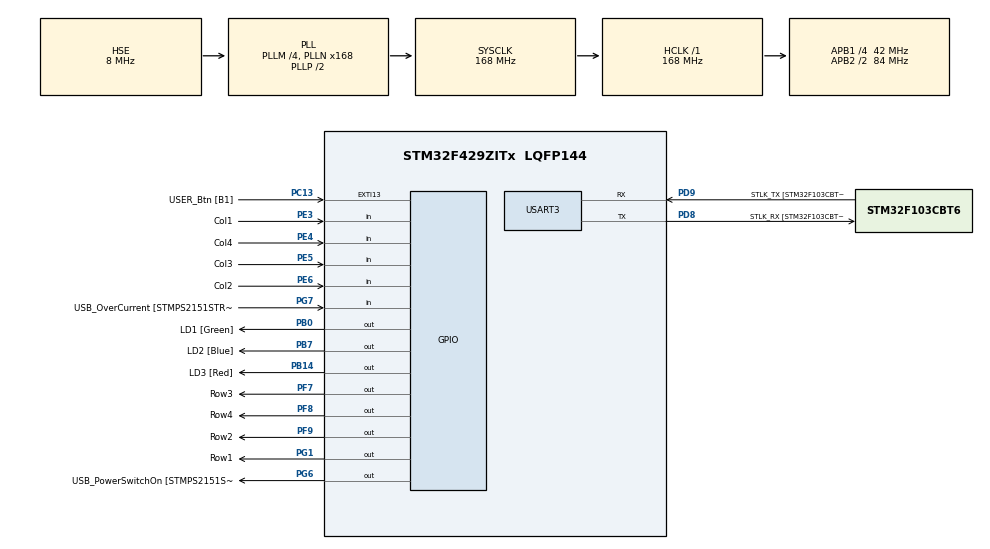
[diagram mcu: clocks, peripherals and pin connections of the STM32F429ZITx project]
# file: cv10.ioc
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Mcu.Family=STM32F4
Mcu.Name=STM32F429ZITx
Mcu.Package=LQFP144
NVIC.PriorityGroup=NVIC_PRIORITYGROUP_4
NVIC.TIM3_IRQn=true\:0\:0\:false\:false\:true\:true\:true\:true
PA1.GPIO_Label=RMII_REF_CLK [LAN8742A-CZ-TR_REFCLK0]
PA1.Signal=ETH_REF_CLK
PA10.GPIO_Label=USB_ID
PA10.Signal=USB_OTG_FS_ID
PA11.GPIO_Label=USB_DM
PA11.Signal=USB_OTG_FS_DM
PA12.GPIO_Label=USB_DP
PA12.Signal=USB_OTG_FS_DP
PA13.GPIO_Label=TMS
PA13.Mode=Serial_Wire
PA13.Signal=SYS_JTMS-SWDIO
PA14.GPIO_Label=TCK
PA14.Mode=Serial_Wire
PA14.Signal=SYS_JTCK-SWCLK
PA2.GPIO_Label=RMII_MDIO [LAN8742A-CZ-TR_MDIO]
PA2.Signal=ETH_MDIO
PA7.GPIO_Label=RMII_CRS_DV [LAN8742A-CZ-TR_CRS_DV]
PA7.Signal=ETH_CRS_DV
PA8.GPIO_Label=USB_SOF [TP1]
PA8.Signal=USB_OTG_FS_SOF
PA9.GPIO_Label=USB_VBUS
PA9.Signal=USB_OTG_FS_VBUS
PB0.GPIO_Label=LD1 [Green]
PB0.Signal=GPIO_Output
PB13.GPIO_Label=RMII_TXD1 [LAN8742A-CZ-TR_TXD1]
PB13.Signal=ETH_TXD1
PB14.GPIO_Label=LD3 [Red]
PB14.Signal=GPIO_Output
PB7.GPIO_Label=LD2 [Blue]
PB7.Signal=GPIO_Output
PC1.GPIO_Label=RMII_MDC [LAN8742A-CZ-TR_MDC]
PC1.Signal=ETH_MDC
PC13.GPIO_Label=USER_Btn [B1]
PC13.Signal=GPXTI13
PC14/OSC32_IN.Mode=LSE-External-Oscillator
PC14/OSC32_IN.Signal=RCC_OSC32_IN
PC15/OSC32_OUT.Mode=LSE-External-Oscillator
PC15/OSC32_OUT.Signal=RCC_OSC32_OUT
PC4.GPIO_Label=RMII_RXD0 [LAN8742A-CZ-TR_RXD0]
PC4.Signal=ETH_RXD0
PC5.GPIO_Label=RMII_RXD1 [LAN8742A-CZ-TR_RXD1]
PC5.Signal=ETH_RXD1
PD8.GPIO_Label=STLK_RX [STM32F103CBT6_PA3]
PD8.Mode=Asynchronous
PD8.Signal=USART3_TX
PD9.GPIO_Label=STLK_TX [STM32F103CBT6_PA2]
PD9.Mode=Asynchronous
PD9.Signal=USART3_RX
PE3.GPIO_Label=Col1
PE3.GPIO_PuPd=GPIO_PULLUP
PE3.Signal=GPIO_Input
PE4.GPIO_Label=Col4
PE4.GPIO_PuPd=GPIO_PULLUP
PE4.Signal=GPIO_Input
PE5.GPIO_Label=Col3
PE5.GPIO_PuPd=GPIO_PULLUP
PE5.Signal=GPIO_Input
PE6.GPIO_Label=Col2
PE6.GPIO_PuPd=GPIO_PULLUP
PE6.Signal=GPIO_Input
PF7.GPIO_Label=Row3
PF7.GPIO_ModeDefaultOutputPP=GPIO_MODE_OUTPUT_OD
PF7.GPIO_PuPd=GPIO_NOPULL
PF7.Signal=GPIO_Output
PF8.GPIO_Label=Row4
PF8.GPIO_ModeDefaultOutputPP=GPIO_MODE_OUTPUT_OD
PF8.GPIO_PuPd=GPIO_NOPULL
PF8.Signal=GPIO_Output
PF9.GPIO_Label=Row2
PF9.GPIO_ModeDefaultOutputPP=GPIO_MODE_OUTPUT_OD
PF9.GPIO_PuPd=GPIO_NOPULL
PF9.Signal=GPIO_Output
PG1.GPIO_Label=Row1
PG1.GPIO_ModeDefaultOutputPP=GPIO_MODE_OUTPUT_OD
PG1.GPIO_PuPd=GPIO_NOPULL
PG1.Signal=GPIO_Output
PG11.GPIO_Label=RMII_TX_EN [LAN8742A-CZ-TR_TXEN]
PG11.Signal=ETH_TX_EN
PG13.GPIO_Label=RMII_TXD0 [LAN8742A-CZ-TR_TXD0]
PG13.Signal=ETH_TXD0
PG6.GPIO_Label=USB_PowerSwitchOn [STMPS2151STR_EN]
PG6.Signal=GPIO_Output
PG7.GPIO_Label=USB_OverCurrent [STMPS2151STR_FAULT]
PG7.Signal=GPIO_Input
PH0/OSC_IN.GPIO_Label=MCO [STM32F103CBT6_PA8]
PH0/OSC_IN.Mode=HSE-External-Clock-Source
PH0/OSC_IN.Signal=RCC_OSC_IN
PH1/OSC_OUT.Mode=HSE-External-Clock-Source
PH1/OSC_OUT.Signal=RCC_OSC_OUT
ProjectManager.HeapSize=0x200
ProjectManager.StackSize=0x400
ProjectManager.TargetToolchain=STM32CubeIDE
RCC.48MHZClocksFreq_Value=48000000
RCC.AHBFreq_Value=168000000
RCC.APB1CLKDivider=RCC_HCLK_DIV4
RCC.APB1Freq_Value=42000000
RCC.APB1TimFreq_Value=84000000
RCC.APB2CLKDivider=RCC_HCLK_DIV2
RCC.APB2Freq_Value=84000000
RCC.APB2TimCLKDivider=2
RCC.APB2TimFreq_Value=168000000
RCC.CortexFreq_Value=168000000
RCC.HCLKFreq_Value=168000000
RCC.HSE_VALUE=8000000
RCC.HSI_VALUE=16000000
RCC.PLLM=4
RCC.PLLMUL=RCC_PLL_MUL9
RCC.PLLN=168
RCC.PLLQ=7
RCC.PLLSourceVirtual=RCC_PLLSOURCE_HSE
RCC.PRESCALERUSB=RCC_USBCLKSOURCE_PLL_DIV1_5
RCC.SYSCLKFreq_VALUE=168000000
RCC.SYSCLKSource=RCC_SYSCLKSOURCE_PLLCLK
RCC.SYSCLKSourceVirtual=RCC_SYSCLKSOURCE_PLLCLK
RCC.USBFreq_Value=48000000
RCC.VCOOutputFreq_Value=336000000
TIM3.AutoReloadPreload=TIM_AUTORELOAD_PRELOAD_ENABLE
TIM3.Period=99
TIM3.Prescaler=8399
USART3.VirtualMode=VM_ASYNC
VP_TIM3_VS_ClockSourceINT.Mode=Internal
board=NUCLEO-F429ZI

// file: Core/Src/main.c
/* USER CODE BEGIN Header */
/**
  ******************************************************************************
  * @file           : main.c
  * @brief          : Main program body
  ******************************************************************************
  * @attention
  *
  * Copyright (c) 2022 STMicroelectronics.
  * All rights reserved.
  *
  * This software is licensed under terms that can be found in the LICENSE file
  * in the root directory of this software component.
  * If no LICENSE file comes with this software, it is provided AS-IS.
  *
  ******************************************************************************
  */
/* USER CODE END Header */
#include "main.h"

/* USER CODE BEGIN Includes */
#include <stdio.h>
/* USER CODE END Includes */

TIM_HandleTypeDef htim3;

UART_HandleTypeDef huart3;

/* USER CODE BEGIN PV */
static volatile int8_t key = -1;
static const int key_def[5] =  {7, 9, 3, 2, 12 };
/* USER CODE END PV */

void SystemClock_Config(void);
static void MX_GPIO_Init(void);
static void MX_USART3_UART_Init(void);
static void MX_TIM3_Init(void);

/* USER CODE BEGIN 0 */
int __io_putchar(int ch)
{
	ITM_SendChar(ch);
	return 0;
}

//static int8_t pos = 0;

/* USER CODE END 0 */

int main(void)
{

  /* MCU Configuration--------------------------------------------------------*/

  /* Reset of all peripherals, Initializes the Flash interface and the Systick. */
  HAL_Init();

  /* Configure the system clock */
  SystemClock_Config();

  /* Initialize all configured peripherals */
  MX_GPIO_Init();
  MX_USART3_UART_Init();
  MX_TIM3_Init();
  /* USER CODE BEGIN 2 */
  HAL_TIM_Base_Start_IT(&htim3);
  printf("test\n\r");
  int8_t pos = 0;
  /* USER CODE END 2 */

  /* Infinite loop */
  while (1)
  {
	  //if (key != -1) {
		  //printf("stisknuto: %d\n", key);
		  //key = -1;

	  static uint32_t delay = 0xffffffff;
	  if (HAL_GetTick() > delay) {
		  pos = 0;
		  delay = 0xffffffff;
		  printf("timeout\n"); //omezeni casu

	  }

	  if (key != -1) {
		  delay = HAL_GetTick() + 3000; //stanoveni omezeni casu
		  printf("pressed %d\n", key);
		  if (key == key_def[pos]) {
			  pos++;
		  }
		  else {
			  pos = 0;
		  }
		  printf("pos = %d\n", pos);
		  HAL_Delay(500);
		  key = -1;
	  }
	  if (pos == 5) {
		  HAL_GPIO_TogglePin(LD1_GPIO_Port, LD1_Pin);
		  pos = 0;
		  delay = UINT32_MAX //alternativne namisto fff...
	  }

  }
}

void SystemClock_Config(void)
{
  RCC_OscInitTypeDef RCC_OscInitStruct = {0};
  RCC_ClkInitTypeDef RCC_ClkInitStruct = {0};

  /** Configure the main internal regulator output voltage
  */
  __HAL_RCC_PWR_CLK_ENABLE();
  __HAL_PWR_VOLTAGESCALING_CONFIG(PWR_REGULATOR_VOLTAGE_SCALE1);

  /** Initializes the RCC Oscillators according to the specified parameters
  * in the RCC_OscInitTypeDef structure.
  */
  RCC_OscInitStruct.OscillatorType = RCC_OSCILLATORTYPE_HSE;
  RCC_OscInitStruct.HSEState = RCC_HSE_BYPASS;
  RCC_OscInitStruct.PLL.PLLState = RCC_PLL_ON;
  RCC_OscInitStruct.PLL.PLLSource = RCC_PLLSOURCE_HSE;
  RCC_OscInitStruct.PLL.PLLM = 4;
  RCC_OscInitStruct.PLL.PLLN = 168;
  RCC_OscInitStruct.PLL.PLLP = RCC_PLLP_DIV2;
  RCC_OscInitStruct.PLL.PLLQ = 7;
  if (HAL_RCC_OscConfig(&RCC_OscInitStruct) != HAL_OK)
  {
    Error_Handler();
  }

  /** Initializes the CPU, AHB and APB buses clocks
  */
  RCC_ClkInitStruct.ClockType = RCC_CLOCKTYPE_HCLK|RCC_CLOCKTYPE_SYSCLK
                              |RCC_CLOCKTYPE_PCLK1|RCC_CLOCKTYPE_PCLK2;
  RCC_ClkInitStruct.SYSCLKSource = RCC_SYSCLKSOURCE_PLLCLK;
  RCC_ClkInitStruct.AHBCLKDivider = RCC_SYSCLK_DIV1;
  RCC_ClkInitStruct.APB1CLKDivider = RCC_HCLK_DIV4;
  RCC_ClkInitStruct.APB2CLKDivider = RCC_HCLK_DIV2;

  if (HAL_RCC_ClockConfig(&RCC_ClkInitStruct, FLASH_LATENCY_5) != HAL_OK)
  {
    Error_Handler();
  }
}

static void MX_TIM3_Init(void)
{

  TIM_ClockConfigTypeDef sClockSourceConfig = {0};
  TIM_MasterConfigTypeDef sMasterConfig = {0};

  htim3.Instance = TIM3;
  htim3.Init.Prescaler = 8399;
  htim3.Init.CounterMode = TIM_COUNTERMODE_UP;
  htim3.Init.Period = 99;
  htim3.Init.ClockDivision = TIM_CLOCKDIVISION_DIV1;
  htim3.Init.AutoReloadPreload = TIM_AUTORELOAD_PRELOAD_ENABLE;
  if (HAL_TIM_Base_Init(&htim3) != HAL_OK)
  {
    Error_Handler();
  }
  sClockSourceConfig.ClockSource = TIM_CLOCKSOURCE_INTERNAL;
  if (HAL_TIM_ConfigClockSource(&htim3, &sClockSourceConfig) != HAL_OK)
  {
    Error_Handler();
  }
  sMasterConfig.MasterOutputTrigger = TIM_TRGO_RESET;
  sMasterConfig.MasterSlaveMode = TIM_MASTERSLAVEMODE_DISABLE;
  if (HAL_TIMEx_MasterConfigSynchronization(&htim3, &sMasterConfig) != HAL_OK)
  {
    Error_Handler();
  }

}

static void MX_USART3_UART_Init(void)
{

  huart3.Instance = USART3;
  huart3.Init.BaudRate = 115200;
  huart3.Init.WordLength = UART_WORDLENGTH_8B;
  huart3.Init.StopBits = UART_STOPBITS_1;
  huart3.Init.Parity = UART_PARITY_NONE;
  huart3.Init.Mode = UART_MODE_TX_RX;
  huart3.Init.HwFlowCtl = UART_HWCONTROL_NONE;
  huart3.Init.OverSampling = UART_OVERSAMPLING_16;
  if (HAL_UART_Init(&huart3) != HAL_OK)
  {
    Error_Handler();
  }

}

static void MX_GPIO_Init(void)
{
  GPIO_InitTypeDef GPIO_InitStruct = {0};

  /* GPIO Ports Clock Enable */
  __HAL_RCC_GPIOE_CLK_ENABLE();
  __HAL_RCC_GPIOC_CLK_ENABLE();
  __HAL_RCC_GPIOF_CLK_ENABLE();
  __HAL_RCC_GPIOH_CLK_ENABLE();
  __HAL_RCC_GPIOA_CLK_ENABLE();
  __HAL_RCC_GPIOB_CLK_ENABLE();
  __HAL_RCC_GPIOG_CLK_ENABLE();
  __HAL_RCC_GPIOD_CLK_ENABLE();

  /*Configure GPIO pin Output Level */
  HAL_GPIO_WritePin(GPIOF, Row3_Pin|Row4_Pin|Row2_Pin, GPIO_PIN_RESET);

  /*Configure GPIO pin Output Level */
  HAL_GPIO_WritePin(GPIOB, LD1_Pin|LD3_Pin|LD2_Pin, GPIO_PIN_RESET);

  /*Configure GPIO pin Output Level */
  HAL_GPIO_WritePin(GPIOG, Row1_Pin|USB_PowerSwitchOn_Pin, GPIO_PIN_RESET);

  /*Configure GPIO pins : Col1_Pin Col4_Pin Col3_Pin Col2_Pin */
  GPIO_InitStruct.Pin = Col1_Pin|Col4_Pin|Col3_Pin|Col2_Pin;
  GPIO_InitStruct.Mode = GPIO_MODE_INPUT;
  GPIO_InitStruct.Pull = GPIO_PULLUP;
  HAL_GPIO_Init(GPIOE, &GPIO_InitStruct);

  /*Configure GPIO pin : USER_Btn_Pin */
  GPIO_InitStruct.Pin = USER_Btn_Pin;
  GPIO_InitStruct.Mode = GPIO_MODE_IT_RISING;
  GPIO_InitStruct.Pull = GPIO_NOPULL;
  HAL_GPIO_Init(USER_Btn_GPIO_Port, &GPIO_InitStruct);

  /*Configure GPIO pins : Row3_Pin Row4_Pin Row2_Pin */
  GPIO_InitStruct.Pin = Row3_Pin|Row4_Pin|Row2_Pin;
  GPIO_InitStruct.Mode = GPIO_MODE_OUTPUT_OD;
  GPIO_InitStruct.Pull = GPIO_NOPULL;
  GPIO_InitStruct.Speed = GPIO_SPEED_FREQ_LOW;
  HAL_GPIO_Init(GPIOF, &GPIO_InitStruct);

  /*Configure GPIO pins : RMII_MDC_Pin RMII_RXD0_Pin RMII_RXD1_Pin */
  GPIO_InitStruct.Pin = RMII_MDC_Pin|RMII_RXD0_Pin|RMII_RXD1_Pin;
  GPIO_InitStruct.Mode = GPIO_MODE_AF_PP;
  GPIO_InitStruct.Pull = GPIO_NOPULL;
  GPIO_InitStruct.Speed = GPIO_SPEED_FREQ_VERY_HIGH;
  GPIO_InitStruct.Alternate = GPIO_AF11_ETH;
  HAL_GPIO_Init(GPIOC, &GPIO_InitStruct);

  /*Configure GPIO pins : RMII_REF_CLK_Pin RMII_MDIO_Pin RMII_CRS_DV_Pin */
  GPIO_InitStruct.Pin = RMII_REF_CLK_Pin|RMII_MDIO_Pin|RMII_CRS_DV_Pin;
  GPIO_InitStruct.Mode = GPIO_MODE_AF_PP;
  GPIO_InitStruct.Pull = GPIO_NOPULL;
  GPIO_InitStruct.Speed = GPIO_SPEED_FREQ_VERY_HIGH;
  GPIO_InitStruct.Alternate = GPIO_AF11_ETH;
  HAL_GPIO_Init(GPIOA, &GPIO_InitStruct);

  /*Configure GPIO pins : LD1_Pin LD3_Pin LD2_Pin */
  GPIO_InitStruct.Pin = LD1_Pin|LD3_Pin|LD2_Pin;
  GPIO_InitStruct.Mode = GPIO_MODE_OUTPUT_PP;
  GPIO_InitStruct.Pull = GPIO_NOPULL;
  GPIO_InitStruct.Speed = GPIO_SPEED_FREQ_LOW;
  HAL_GPIO_Init(GPIOB, &GPIO_InitStruct);

  /*Configure GPIO pin : Row1_Pin */
  GPIO_InitStruct.Pin = Row1_Pin;
  GPIO_InitStruct.Mode = GPIO_MODE_OUTPUT_OD;
  GPIO_InitStruct.Pull = GPIO_NOPULL;
  GPIO_InitStruct.Speed = GPIO_SPEED_FREQ_LOW;
  HAL_GPIO_Init(Row1_GPIO_Port, &GPIO_InitStruct);

  /*Configure GPIO pin : RMII_TXD1_Pin */
  GPIO_InitStruct.Pin = RMII_TXD1_Pin;
  GPIO_InitStruct.Mode = GPIO_MODE_AF_PP;
  GPIO_InitStruct.Pull = GPIO_NOPULL;
  GPIO_InitStruct.Speed = GPIO_SPEED_FREQ_VERY_HIGH;
  GPIO_InitStruct.Alternate = GPIO_AF11_ETH;
  HAL_GPIO_Init(RMII_TXD1_GPIO_Port, &GPIO_InitStruct);

  /*Configure GPIO pin : USB_PowerSwitchOn_Pin */
  GPIO_InitStruct.Pin = USB_PowerSwitchOn_Pin;
  GPIO_InitStruct.Mode = GPIO_MODE_OUTPUT_PP;
  GPIO_InitStruct.Pull = GPIO_NOPULL;
  GPIO_InitStruct.Speed = GPIO_SPEED_FREQ_LOW;
  HAL_GPIO_Init(USB_PowerSwitchOn_GPIO_Port, &GPIO_InitStruct);

  /*Configure GPIO pin : USB_OverCurrent_Pin */
  GPIO_InitStruct.Pin = USB_OverCurrent_Pin;
  GPIO_InitStruct.Mode = GPIO_MODE_INPUT;
  GPIO_InitStruct.Pull = GPIO_NOPULL;
  HAL_GPIO_Init(USB_OverCurrent_GPIO_Port, &GPIO_InitStruct);

  /*Configure GPIO pins : USB_SOF_Pin USB_ID_Pin USB_DM_Pin USB_DP_Pin */
  GPIO_InitStruct.Pin = USB_SOF_Pin|USB_ID_Pin|USB_DM_Pin|USB_DP_Pin;
  GPIO_InitStruct.Mode = GPIO_MODE_AF_PP;
  GPIO_InitStruct.Pull = GPIO_NOPULL;
  GPIO_InitStruct.Speed = GPIO_SPEED_FREQ_VERY_HIGH;
  GPIO_InitStruct.Alternate = GPIO_AF10_OTG_FS;
  HAL_GPIO_Init(GPIOA, &GPIO_InitStruct);

  /*Configure GPIO pin : USB_VBUS_Pin */
  GPIO_InitStruct.Pin = USB_VBUS_Pin;
  GPIO_InitStruct.Mode = GPIO_MODE_INPUT;
  GPIO_InitStruct.Pull = GPIO_NOPULL;
  HAL_GPIO_Init(USB_VBUS_GPIO_Port, &GPIO_InitStruct);

  /*Configure GPIO pins : RMII_TX_EN_Pin RMII_TXD0_Pin */
  GPIO_InitStruct.Pin = RMII_TX_EN_Pin|RMII_TXD0_Pin;
  GPIO_InitStruct.Mode = GPIO_MODE_AF_PP;
  GPIO_InitStruct.Pull = GPIO_NOPULL;
  GPIO_InitStruct.Speed = GPIO_SPEED_FREQ_VERY_HIGH;
  GPIO_InitStruct.Alternate = GPIO_AF11_ETH;
  HAL_GPIO_Init(GPIOG, &GPIO_InitStruct);

}

/* USER CODE BEGIN 4 */
void HAL_TIM_PeriodElapsedCallback(TIM_HandleTypeDef *htim)
{
	static int row = 0;
	static const int keyboard[4][4] = {
			{ 1, 2, 3, 21 },
			{ 4, 5, 6, 22 },
			{ 7, 8, 9, 23 },
			{ 11, 0, 12, 24 },
	};
	if (key == -1) {
		if (HAL_GPIO_ReadPin(Col1_GPIO_Port, Col1_Pin) == GPIO_PIN_RESET) key = keyboard[row][0];
		if (HAL_GPIO_ReadPin(Col2_GPIO_Port, Col2_Pin) == GPIO_PIN_RESET) key = keyboard[row][1];
		if (HAL_GPIO_ReadPin(Col3_GPIO_Port, Col3_Pin) == GPIO_PIN_RESET) key = keyboard[row][2];
		if (HAL_GPIO_ReadPin(Col4_GPIO_Port, Col4_Pin) == GPIO_PIN_RESET) key = keyboard[row][3];
	}
	HAL_GPIO_WritePin(Row1_GPIO_Port, Row1_Pin, GPIO_PIN_SET);
	HAL_GPIO_WritePin(Row2_GPIO_Port, Row2_Pin, GPIO_PIN_SET);
	HAL_GPIO_WritePin(Row3_GPIO_Port, Row3_Pin, GPIO_PIN_SET);
	HAL_GPIO_WritePin(Row4_GPIO_Port, Row4_Pin, GPIO_PIN_SET);
	switch (row) {
	case 0: row = 1; HAL_GPIO_WritePin(Row2_GPIO_Port, Row2_Pin, GPIO_PIN_RESET); break;
	case 1: row = 2; HAL_GPIO_WritePin(Row3_GPIO_Port, Row3_Pin, GPIO_PIN_RESET); break;
	case 2: row = 3; HAL_GPIO_WritePin(Row4_GPIO_Port, Row4_Pin, GPIO_PIN_RESET); break;
	case 3: row = 0; HAL_GPIO_WritePin(Row1_GPIO_Port, Row1_Pin, GPIO_PIN_RESET); break;
	}
}
/* USER CODE END 4 */

void Error_Handler(void)
{
  __disable_irq();
  while (1)
  {
  }
}
